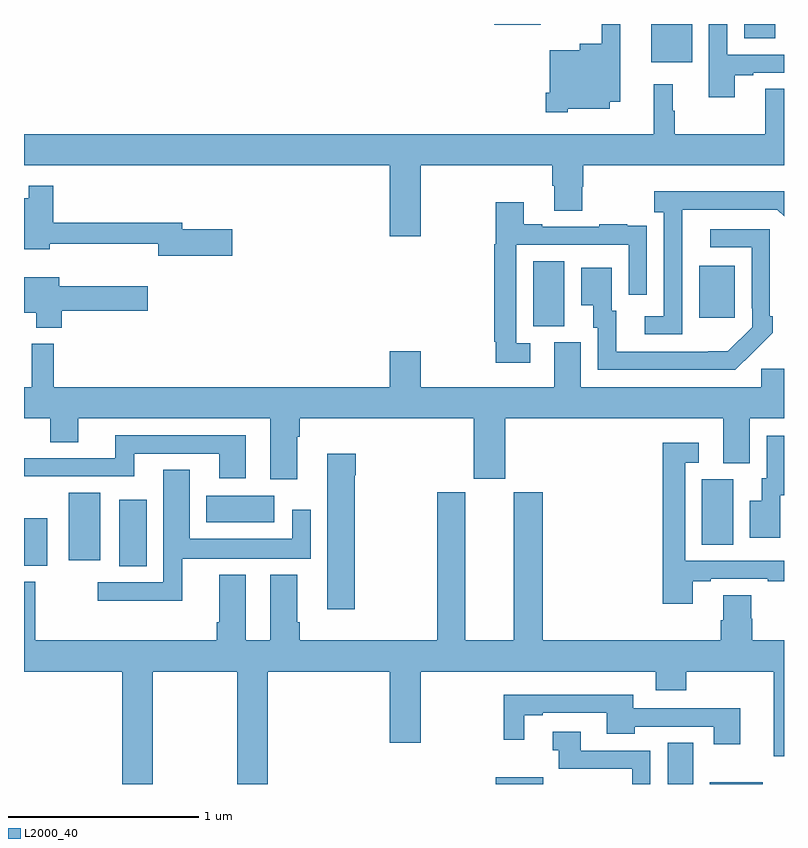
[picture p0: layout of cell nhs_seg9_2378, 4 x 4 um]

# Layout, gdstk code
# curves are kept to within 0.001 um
import gdstk
lib = gdstk.Library(unit=1e-6, precision=1e-09)
def R(c, l, rs):  # rectangles x0, y0, x1, y1
    for r in rs: c.add(gdstk.rectangle(r[:2], r[2:], *l))
def P(c, l, *ps):  # polygons
    for p in ps: c.add(gdstk.Polygon(p, *l))
L2000_40 = (2000, 40)

nhs_seg9_2378 = lib.new_cell('nhs_seg9_2378')
R(nhs_seg9_2378, L2000_40, [(249.482,1190.5,249.733,1190.536), (250.388,1190.5,250.522,1190.717), (250.61,1190.5,250.888,1190.509), (247.502,1191.646,247.645,1191.997), (247,1191.65,247.123,1191.898), (247.235,1191.678,247.402,1192.034), (250.568,1191.76,250.732,1192.104), (247.958,1191.878,248.317,1192.018), (249.68,1192.909,249.844,1193.252), (250.553,1192.953,250.741,1193.227), (250.301,1194.299,250.516,1194.5), (250.79,1194.424,250.954,1194.5), (249.474,1194.497,249.72,1194.5)])
P(nhs_seg9_2378, L2000_40, [(249.861,1194.053),(250.084,1194.053),(250.084,1194.092),(250.138,1194.092),(250.138,1194.5),(250.041,1194.5),(250.041,1194.397),(249.926,1194.397),(249.926,1194.361),(249.767,1194.361),(249.767,1194.139),(249.746,1194.139),(249.746,1194.035),(249.861,1194.035)],
  [(250.741,1194.231),(250.837,1194.231),(250.837,1194.243),(251,1194.243),(251,1194.339),(250.701,1194.339),(250.701,1194.5),(250.605,1194.5),(250.605,1194.114),(250.741,1194.114)],
  [(249.088,1193.756),(249.779,1193.756),(249.779,1193.65),(249.791,1193.65),(249.791,1193.518),(249.939,1193.518),(249.939,1193.643),(249.944,1193.643),(249.944,1193.756),(251,1193.756),(251,1194.158),(250.901,1194.158),(250.901,1193.92),(250.426,1193.92),(250.426,1194.044),(250.415,1194.044),(250.415,1194.184),(250.315,1194.184),(250.315,1193.92),(247,1193.92),(247,1193.756),(248.924,1193.756),(248.924,1193.382),(249.088,1193.382)],
  [(248.095,1193.421),(247.834,1193.421),(247.834,1193.455),(247.154,1193.455),(247.154,1193.65),(247.026,1193.65),(247.026,1193.584),(247,1193.584),(247,1193.315),(247.135,1193.315),(247.135,1193.344),(247.706,1193.344),(247.706,1193.279),(248.095,1193.279)],
  [(250.464,1193.323),(250.465,1193.523),(250.965,1193.523),(251,1193.488),(251,1193.62),(250.317,1193.62),(250.317,1193.51),(250.368,1193.51),(250.368,1192.962),(250.266,1192.962),(250.266,1192.866),(250.464,1192.866)],
  [(249.664,1192.821),(249.591,1192.821),(249.591,1193.337),(250.182,1193.337),(250.182,1193.076),(250.278,1193.076),(250.278,1193.33),(250.277,1193.33),(250.277,1193.439),(250.175,1193.439),(250.175,1193.446),(250.027,1193.446),(250.027,1193.433),(249.727,1193.433),(249.727,1193.446),(249.631,1193.446),(249.631,1193.563),(249.483,1193.563),(249.483,1193.34),(249.475,1193.34),(249.475,1192.828),(249.483,1192.828),(249.483,1192.716),(249.664,1192.716)],
  [(250.835,1192.771),(250.836,1192.77),(250.941,1192.875),(250.941,1192.963),(250.926,1192.963),(250.926,1193.421),(250.611,1193.421),(250.611,1193.325),(250.83,1193.325),(250.83,1193.005),(250.833,1193.005),(250.833,1192.905),(250.705,1192.777),(250.117,1192.776),(250.117,1192.992),(250.093,1192.992),(250.093,1193.218),(249.932,1193.218),(249.932,1193.021),(249.995,1193.021),(249.995,1192.902),(250.02,1192.902),(250.02,1192.68),(250.744,1192.68)],
  [(247.199,1192.99),(247.651,1192.99),(247.651,1193.119),(247.186,1193.119),(247.186,1193.167),(247,1193.167),(247,1192.979),(247.064,1192.979),(247.064,1192.901),(247.199,1192.901)],
  [(248.437,1192.328),(248.45,1192.328),(248.45,1192.424),(249.368,1192.424),(249.368,1192.107),(249.532,1192.107),(249.532,1192.424),(250.679,1192.424),(250.679,1192.189),(250.819,1192.189),(250.819,1192.424),(251,1192.424),(251,1192.686),(250.881,1192.686),(250.881,1192.588),(249.931,1192.588),(249.931,1192.824),(249.791,1192.824),(249.791,1192.588),(249.088,1192.588),(249.088,1192.777),(248.924,1192.777),(248.924,1192.588),(247.157,1192.588),(247.157,1192.816),(247.04,1192.816),(247.04,1192.588),(247,1192.588),(247,1192.424),(247.138,1192.424),(247.138,1192.3),(247.285,1192.3),(247.285,1192.424),(248.297,1192.424),(248.297,1192.104),(248.437,1192.104)],
  [(248.167,1192.335),(247.481,1192.335),(247.481,1192.215),(247,1192.215),(247,1192.119),(247.579,1192.119),(247.579,1192.239),(248.027,1192.239),(248.027,1192.11),(248.167,1192.11)],
  [(250.981,1192.02),(251,1192.02),(251,1192.332),(250.908,1192.332),(250.908,1192.11),(250.883,1192.11),(250.883,1191.991),(250.82,1191.991),(250.82,1191.795),(250.981,1191.795)],
  [(250.519,1191.567),(250.615,1191.567),(250.615,1191.579),(250.915,1191.579),(250.915,1191.567),(251,1191.567),(251,1191.675),(250.479,1191.675),(250.479,1192.191),(250.552,1192.191),(250.552,1192.297),(250.363,1192.297),(250.363,1191.45),(250.519,1191.45)],
  [(248.742,1192.124),(248.747,1192.124),(248.747,1192.237),(248.597,1192.237),(248.597,1191.42),(248.742,1191.42)],
  [(247.832,1191.686),(248.508,1191.686),(248.508,1191.943),(248.412,1191.943),(248.412,1191.79),(247.873,1191.79),(247.873,1192.154),(247.733,1192.154),(247.733,1191.561),(247.389,1191.561),(247.389,1191.464),(247.832,1191.464)],
  [(250.827,1191.369),(250.827,1191.494),(250.679,1191.494),(250.679,1191.362),(250.667,1191.362),(250.667,1191.256),(249.731,1191.256),(249.731,1192.035),(249.578,1192.035),(249.578,1191.256),(249.322,1191.256),(249.322,1192.035),(249.175,1192.035),(249.175,1191.256),(248.45,1191.256),(248.45,1191.352),(248.437,1191.352),(248.437,1191.601),(248.297,1191.601),(248.297,1191.256),(248.167,1191.256),(248.167,1191.601),(248.027,1191.601),(248.027,1191.352),(248.015,1191.352),(248.015,1191.256),(247.059,1191.256),(247.059,1191.565),(247,1191.565),(247,1191.092),(247.517,1191.092),(247.517,1190.5),(247.677,1190.5),(247.677,1191.092),(248.122,1191.092),(248.122,1190.5),(248.282,1190.5),(248.282,1191.092),(248.924,1191.092),(248.924,1190.718),(249.088,1190.718),(249.088,1191.092),(250.325,1191.092),(250.325,1190.993),(250.485,1190.993),(250.485,1191.092),(250.946,1191.092),(250.946,1190.646),(251,1190.646),(251,1191.256),(250.832,1191.256),(250.832,1191.369)],
  [(250.771,1190.898),(250.207,1190.898),(250.207,1190.97),(249.525,1190.97),(249.525,1190.733),(249.634,1190.733),(249.634,1190.862),(249.73,1190.862),(249.73,1190.874),(250.067,1190.874),(250.067,1190.765),(250.215,1190.765),(250.215,1190.802),(250.631,1190.802),(250.631,1190.709),(250.771,1190.709)],
  [(250.296,1190.676),(249.931,1190.676),(249.931,1190.775),(249.783,1190.775),(249.783,1190.678),(249.814,1190.678),(249.814,1190.58),(250.2,1190.58),(250.2,1190.5),(250.296,1190.5)])

lib.write_gds('nhs_seg9_2378.gds')
